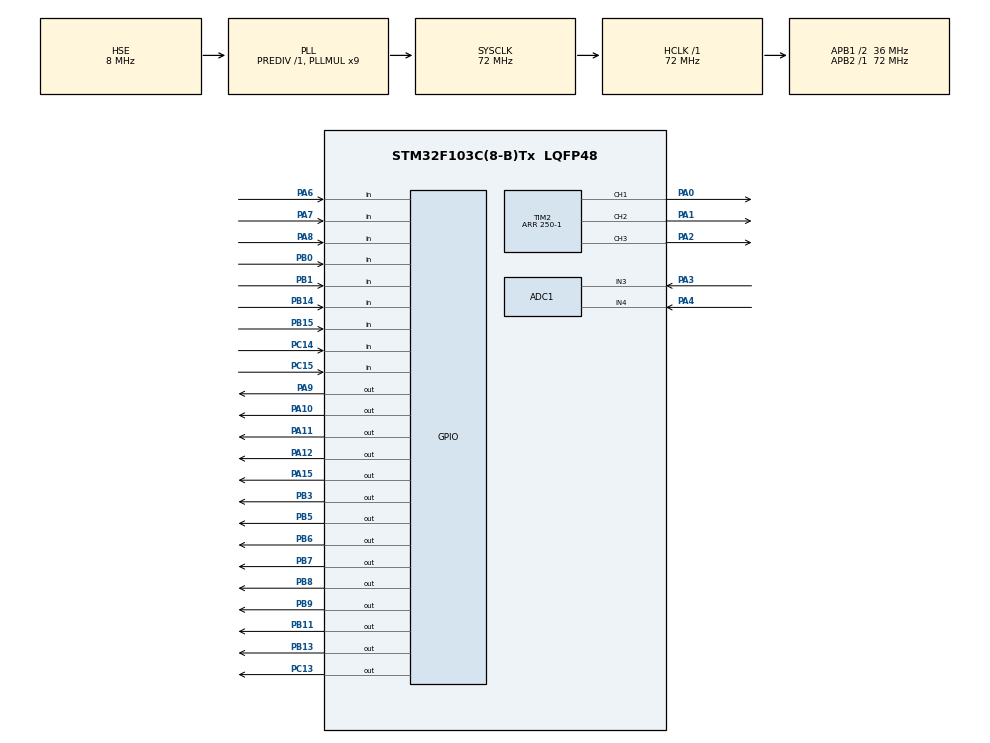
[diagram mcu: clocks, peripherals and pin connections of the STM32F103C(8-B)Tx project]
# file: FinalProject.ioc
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ADC1.Channel-48\#ChannelRegularConversion=ADC_CHANNEL_3
ADC1.Channel-64\#ChannelRegularConversion=ADC_CHANNEL_4
ADC1.NbrOfConversion=2
ADC1.NbrOfConversionFlag=1
ADC1.Rank-48\#ChannelRegularConversion=1
ADC1.Rank-64\#ChannelRegularConversion=2
ADC1.SamplingTime-48\#ChannelRegularConversion=ADC_SAMPLETIME_1CYCLE_5
ADC1.SamplingTime-64\#ChannelRegularConversion=ADC_SAMPLETIME_1CYCLE_5
ADC1.master=1
Dma.ADC1.0.Direction=DMA_PERIPH_TO_MEMORY
Dma.ADC1.0.Instance=DMA1_Channel1
Dma.ADC1.0.MemDataAlignment=DMA_MDATAALIGN_WORD
Dma.ADC1.0.MemInc=DMA_MINC_ENABLE
Dma.ADC1.0.Mode=DMA_NORMAL
Dma.ADC1.0.PeriphDataAlignment=DMA_PDATAALIGN_WORD
Dma.ADC1.0.PeriphInc=DMA_PINC_DISABLE
Dma.ADC1.0.Priority=DMA_PRIORITY_LOW
Dma.Request0=ADC1
Mcu.Family=STM32F1
Mcu.Name=STM32F103C(8-B)Tx
Mcu.Package=LQFP48
NVIC.DMA1_Channel1_IRQn=true\:0\:0\:false\:false\:true\:false\:true
NVIC.PriorityGroup=NVIC_PRIORITYGROUP_4
PA0-WKUP.Signal=S_TIM2_CH1_ETR
PA1.Signal=S_TIM2_CH2
PA10.Signal=GPIO_Output
PA11.Signal=GPIO_Output
PA12.Signal=GPIO_Output
PA13.Mode=Serial_Wire
PA13.Signal=SYS_JTMS-SWDIO
PA14.Mode=Serial_Wire
PA14.Signal=SYS_JTCK-SWCLK
PA15.Signal=GPIO_Output
PA2.Signal=S_TIM2_CH3
PA3.Signal=ADCx_IN3
PA4.Signal=ADCx_IN4
PA6.Signal=GPIO_Input
PA7.Signal=GPIO_Input
PA8.Signal=GPIO_Input
PA9.Signal=GPIO_Output
PB0.Signal=GPIO_Input
PB1.Signal=GPIO_Input
PB11.Signal=GPIO_Output
PB13.Signal=GPIO_Output
PB14.Signal=GPIO_Input
PB15.Signal=GPIO_Input
PB3.Signal=GPIO_Output
PB5.Signal=GPIO_Output
PB6.Signal=GPIO_Output
PB7.Signal=GPIO_Output
PB8.Signal=GPIO_Output
PB9.Signal=GPIO_Output
PC13-TAMPER-RTC.Signal=GPIO_Output
PC14-OSC32_IN.Signal=GPIO_Input
PC15-OSC32_OUT.Signal=GPIO_Input
PD0-OSC_IN.Mode=HSE-External-Oscillator
PD0-OSC_IN.Signal=RCC_OSC_IN
PD1-OSC_OUT.Mode=HSE-External-Oscillator
PD1-OSC_OUT.Signal=RCC_OSC_OUT
ProjectManager.HeapSize=0x200
ProjectManager.StackSize=0x400
ProjectManager.TargetToolchain=STM32CubeIDE
RCC.ADCPresc=RCC_ADCPCLK2_DIV6
RCC.AHBFreq_Value=72000000
RCC.APB1CLKDivider=RCC_HCLK_DIV2
RCC.APB1Freq_Value=36000000
RCC.APB1TimFreq_Value=72000000
RCC.APB2Freq_Value=72000000
RCC.APB2TimFreq_Value=72000000
RCC.HCLKFreq_Value=72000000
RCC.PLLMUL=RCC_PLL_MUL9
RCC.PLLSourceVirtual=RCC_PLLSOURCE_HSE
RCC.SYSCLKFreq_VALUE=72000000
RCC.SYSCLKSource=RCC_SYSCLKSOURCE_PLLCLK
RCC.USBFreq_Value=72000000
SH.ADCx_IN3.0=ADC1_IN3,IN3
SH.ADCx_IN4.0=ADC1_IN4,IN4
SH.S_TIM2_CH1_ETR.0=TIM2_CH1,PWM Generation1 CH1
SH.S_TIM2_CH2.0=TIM2_CH2,PWM Generation2 CH2
SH.S_TIM2_CH3.0=TIM2_CH3,PWM Generation3 CH3
TIM2.AutoReloadPreload=TIM_AUTORELOAD_PRELOAD_ENABLE
TIM2.Channel-PWM\ Generation1\ CH1=TIM_CHANNEL_1
TIM2.Channel-PWM\ Generation2\ CH2=TIM_CHANNEL_2
TIM2.Channel-PWM\ Generation3\ CH3=TIM_CHANNEL_3
TIM2.Period=250-1
VP_TIM2_VS_ClockSourceINT.Mode=Internal
board=custom

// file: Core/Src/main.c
/* USER CODE BEGIN Header */
/**
  ******************************************************************************
  * @file           : main.c
  * @brief          : Main program body
  ******************************************************************************
  * @attention
  *
  * <h2><center>&copy; Copyright (c) 2020 STMicroelectronics.
  * All rights reserved.</center></h2>
  *
  * This software component is licensed by ST under BSD 3-Clause license,
  * the "License"; You may not use this file except in compliance with the
  * License. You may obtain a copy of the License at:
  *                        opensource.org/licenses/BSD-3-Clause
  *
  ******************************************************************************
  */
/* USER CODE END Header */
#include "main.h"

/* USER CODE BEGIN Includes */
#include <stdio.h>
#include "lcd16x2.h"
#include "teclado.h"
#include "relogio.h"
#include "capsulas.h"
#include "heartBeat.h"
#include "PWM.h"
/* USER CODE END Includes */

/* USER CODE BEGIN PD */
#define TELA_RELOGIO 0
#define TELA_CAPSULA 1
#define ADC_SCALE (3.3 / 4095)
#define NUMBER_OF_CONVERSION 2
#define NUMBER_OF_SAMPLES 32

/* USER CODE END PD */

/* USER CODE BEGIN PM */

void heaterPID(int setPoint);
void coolerPID(int setPoint);
/* USER CODE END PM */

ADC_HandleTypeDef hadc1;
DMA_HandleTypeDef hdma_adc1;

TIM_HandleTypeDef htim2;

/* USER CODE BEGIN PV */
int tela = 0;
long long previousTimeHeater = 0;
long long previousTimeCooler = 0;
/* USER CODE END PV */

void SystemClock_Config(void);
static void MX_GPIO_Init(void);
static void MX_DMA_Init(void);
static void MX_TIM2_Init(void);
static void MX_ADC1_Init(void);

/* USER CODE BEGIN 0 */

uint8_t adcDataReady;
uint32_t adcData[NUMBER_OF_CONVERSION];
uint32_t adcAvgData = 0;
uint32_t adcAvgDataT2 = 0;
float T1;
float T2;
uint32_t contAmostras = 0;
/* USER CODE END 0 */

int main(void)
{

  /* MCU Configuration--------------------------------------------------------*/

  /* Reset of all peripherals, Initializes the Flash interface and the Systick. */
  HAL_Init();

  /* Configure the system clock */
  SystemClock_Config();

  /* Initialize all configured peripherals */
  MX_GPIO_Init();
  MX_DMA_Init();
  MX_TIM2_Init();
  MX_ADC1_Init();
  /* USER CODE BEGIN 2 */

  HAL_ADCEx_Calibration_Start(&hadc1);
  HAL_TIM_PWM_Start(&htim2, TIM_CHANNEL_1);
  HAL_TIM_PWM_Start(&htim2, TIM_CHANNEL_2);
  HAL_TIM_PWM_Start(&htim2, TIM_CHANNEL_3);

  Receita semCap = {SEM_CAPSULA, SEM_AGUA, "", 0, 0, 0};
  Receita capAux = {SEM_CAPSULA, SEM_AGUA, "", 0, 0, 0};
  int ret = 0;

  lcd_init();
  /* USER CODE END 2 */

  /* Infinite loop */
  while (1)
  {

    /* USER CODE BEGIN 3 */

    //HAL_ADC_Start_DMA(&hadc1, adcData, NUMBER_OF_CONVERSION);
    //HAL_ADC_Start_IT(&hadc1);

    contarRelogio();

    Receita capsulaIns = lerSensorCapsulas();

    if (capsulaIns.tipoCapsula != SEM_CAPSULA) //Capsula inserida
    {
      capAux = capsulaIns;
      tela = TELA_CAPSULA;
    }

    int botao = ler_teclado();
    switch (botao)
    {

    case 2:
      if (capAux.tipoCapsula != SEM_CAPSULA) //Se ja foi inserido alguma capsula pode mudar do relogio para a tela de preparacao
        tela++;
      break;
    case 3:
      if (capAux.tipoCapsula != SEM_CAPSULA) //Se ja foi inserido alguma capsula pode mudar do relogio para a tela de preparacao
        tela--;
      break;
    }

    if (tela > TELA_CAPSULA)
      tela = TELA_RELOGIO;

    if (tela < TELA_RELOGIO)
      tela = TELA_CAPSULA;

    switch (tela)
    {
    case 0:
      relogio(capAux);
      break;
    case 1:
      ret = capsulaInserida(capAux);
      tela = TELA_RELOGIO;
      if (ret)
        capAux = semCap;
      break;

    default:
      break;
    }
    heartBeat();
  }
  /* USER CODE END 3 */
}

void SystemClock_Config(void)
{
  RCC_OscInitTypeDef RCC_OscInitStruct = {0};
  RCC_ClkInitTypeDef RCC_ClkInitStruct = {0};
  RCC_PeriphCLKInitTypeDef PeriphClkInit = {0};

  /** Initializes the RCC Oscillators according to the specified parameters
  * in the RCC_OscInitTypeDef structure.
  */
  RCC_OscInitStruct.OscillatorType = RCC_OSCILLATORTYPE_HSE;
  RCC_OscInitStruct.HSEState = RCC_HSE_ON;
  RCC_OscInitStruct.HSEPredivValue = RCC_HSE_PREDIV_DIV1;
  RCC_OscInitStruct.HSIState = RCC_HSI_ON;
  RCC_OscInitStruct.PLL.PLLState = RCC_PLL_ON;
  RCC_OscInitStruct.PLL.PLLSource = RCC_PLLSOURCE_HSE;
  RCC_OscInitStruct.PLL.PLLMUL = RCC_PLL_MUL9;
  if (HAL_RCC_OscConfig(&RCC_OscInitStruct) != HAL_OK)
  {
    Error_Handler();
  }
  /** Initializes the CPU, AHB and APB buses clocks
  */
  RCC_ClkInitStruct.ClockType = RCC_CLOCKTYPE_HCLK | RCC_CLOCKTYPE_SYSCLK | RCC_CLOCKTYPE_PCLK1 | RCC_CLOCKTYPE_PCLK2;
  RCC_ClkInitStruct.SYSCLKSource = RCC_SYSCLKSOURCE_PLLCLK;
  RCC_ClkInitStruct.AHBCLKDivider = RCC_SYSCLK_DIV1;
  RCC_ClkInitStruct.APB1CLKDivider = RCC_HCLK_DIV2;
  RCC_ClkInitStruct.APB2CLKDivider = RCC_HCLK_DIV1;

  if (HAL_RCC_ClockConfig(&RCC_ClkInitStruct, FLASH_LATENCY_2) != HAL_OK)
  {
    Error_Handler();
  }
  PeriphClkInit.PeriphClockSelection = RCC_PERIPHCLK_ADC;
  PeriphClkInit.AdcClockSelection = RCC_ADCPCLK2_DIV6;
  if (HAL_RCCEx_PeriphCLKConfig(&PeriphClkInit) != HAL_OK)
  {
    Error_Handler();
  }
}

static void MX_ADC1_Init(void)
{

  ADC_ChannelConfTypeDef sConfig = {0};

  /** Common config
  */
  hadc1.Instance = ADC1;
  hadc1.Init.ScanConvMode = ADC_SCAN_ENABLE;
  hadc1.Init.ContinuousConvMode = DISABLE;
  hadc1.Init.DiscontinuousConvMode = DISABLE;
  hadc1.Init.ExternalTrigConv = ADC_SOFTWARE_START;
  hadc1.Init.DataAlign = ADC_DATAALIGN_RIGHT;
  hadc1.Init.NbrOfConversion = 8;
  if (HAL_ADC_Init(&hadc1) != HAL_OK)
  {
    Error_Handler();
  }
  /** Configure Regular Channel
  */
  sConfig.Channel = ADC_CHANNEL_3;
  sConfig.Rank = ADC_REGULAR_RANK_1;
  sConfig.SamplingTime = ADC_SAMPLETIME_1CYCLE_5;
  if (HAL_ADC_ConfigChannel(&hadc1, &sConfig) != HAL_OK)
  {
    Error_Handler();
  }
  /** Configure Regular Channel
  */
  sConfig.Rank = ADC_REGULAR_RANK_2;
  if (HAL_ADC_ConfigChannel(&hadc1, &sConfig) != HAL_OK)
  {
    Error_Handler();
  }
  /** Configure Regular Channel
  */
  sConfig.Rank = ADC_REGULAR_RANK_3;
  if (HAL_ADC_ConfigChannel(&hadc1, &sConfig) != HAL_OK)
  {
    Error_Handler();
  }
  /** Configure Regular Channel
  */
  sConfig.Rank = ADC_REGULAR_RANK_4;
  if (HAL_ADC_ConfigChannel(&hadc1, &sConfig) != HAL_OK)
  {
    Error_Handler();
  }
  /** Configure Regular Channel
  */
  sConfig.Channel = ADC_CHANNEL_4;
  sConfig.Rank = ADC_REGULAR_RANK_5;
  if (HAL_ADC_ConfigChannel(&hadc1, &sConfig) != HAL_OK)
  {
    Error_Handler();
  }
  /** Configure Regular Channel
  */
  sConfig.Rank = ADC_REGULAR_RANK_6;
  if (HAL_ADC_ConfigChannel(&hadc1, &sConfig) != HAL_OK)
  {
    Error_Handler();
  }
  /** Configure Regular Channel
  */
  sConfig.Rank = ADC_REGULAR_RANK_7;
  if (HAL_ADC_ConfigChannel(&hadc1, &sConfig) != HAL_OK)
  {
    Error_Handler();
  }
  /** Configure Regular Channel
  */
  sConfig.Rank = ADC_REGULAR_RANK_8;
  if (HAL_ADC_ConfigChannel(&hadc1, &sConfig) != HAL_OK)
  {
    Error_Handler();
  }
}

static void MX_TIM2_Init(void)
{

  TIM_ClockConfigTypeDef sClockSourceConfig = {0};
  TIM_MasterConfigTypeDef sMasterConfig = {0};
  TIM_OC_InitTypeDef sConfigOC = {0};

  htim2.Instance = TIM2;
  htim2.Init.Prescaler = 0;
  htim2.Init.CounterMode = TIM_COUNTERMODE_UP;
  htim2.Init.Period = 250 - 1;
  htim2.Init.ClockDivision = TIM_CLOCKDIVISION_DIV1;
  htim2.Init.AutoReloadPreload = TIM_AUTORELOAD_PRELOAD_ENABLE;
  if (HAL_TIM_Base_Init(&htim2) != HAL_OK)
  {
    Error_Handler();
  }
  sClockSourceConfig.ClockSource = TIM_CLOCKSOURCE_INTERNAL;
  if (HAL_TIM_ConfigClockSource(&htim2, &sClockSourceConfig) != HAL_OK)
  {
    Error_Handler();
  }
  if (HAL_TIM_PWM_Init(&htim2) != HAL_OK)
  {
    Error_Handler();
  }
  sMasterConfig.MasterOutputTrigger = TIM_TRGO_RESET;
  sMasterConfig.MasterSlaveMode = TIM_MASTERSLAVEMODE_DISABLE;
  if (HAL_TIMEx_MasterConfigSynchronization(&htim2, &sMasterConfig) != HAL_OK)
  {
    Error_Handler();
  }
  sConfigOC.OCMode = TIM_OCMODE_PWM1;
  sConfigOC.Pulse = 0;
  sConfigOC.OCPolarity = TIM_OCPOLARITY_HIGH;
  sConfigOC.OCFastMode = TIM_OCFAST_DISABLE;
  if (HAL_TIM_PWM_ConfigChannel(&htim2, &sConfigOC, TIM_CHANNEL_1) != HAL_OK)
  {
    Error_Handler();
  }
  if (HAL_TIM_PWM_ConfigChannel(&htim2, &sConfigOC, TIM_CHANNEL_2) != HAL_OK)
  {
    Error_Handler();
  }
  if (HAL_TIM_PWM_ConfigChannel(&htim2, &sConfigOC, TIM_CHANNEL_3) != HAL_OK)
  {
    Error_Handler();
  }
  HAL_TIM_MspPostInit(&htim2);
}

static void MX_DMA_Init(void)
{

  /* DMA controller clock enable */
  __HAL_RCC_DMA1_CLK_ENABLE();

  /* DMA interrupt init */
  /* DMA1_Channel1_IRQn interrupt configuration */
  HAL_NVIC_SetPriority(DMA1_Channel1_IRQn, 0, 0);
  HAL_NVIC_EnableIRQ(DMA1_Channel1_IRQn);
}

static void MX_GPIO_Init(void)
{
  GPIO_InitTypeDef GPIO_InitStruct = {0};

  /* GPIO Ports Clock Enable */
  __HAL_RCC_GPIOC_CLK_ENABLE();
  __HAL_RCC_GPIOD_CLK_ENABLE();
  __HAL_RCC_GPIOA_CLK_ENABLE();
  __HAL_RCC_GPIOB_CLK_ENABLE();

  /*Configure GPIO pin Output Level */
  HAL_GPIO_WritePin(GPIOC, GPIO_PIN_13, GPIO_PIN_RESET);

  /*Configure GPIO pin Output Level */
  HAL_GPIO_WritePin(GPIOB, GPIO_PIN_11 | GPIO_PIN_13 | GPIO_PIN_3 | GPIO_PIN_5 | GPIO_PIN_6 | GPIO_PIN_7 | GPIO_PIN_8 | GPIO_PIN_9, GPIO_PIN_RESET);

  /*Configure GPIO pin Output Level */
  HAL_GPIO_WritePin(GPIOA, GPIO_PIN_9 | GPIO_PIN_10 | GPIO_PIN_11 | GPIO_PIN_12 | GPIO_PIN_15, GPIO_PIN_RESET);

  /*Configure GPIO pin : PC13 */
  GPIO_InitStruct.Pin = GPIO_PIN_13;
  GPIO_InitStruct.Mode = GPIO_MODE_OUTPUT_PP;
  GPIO_InitStruct.Pull = GPIO_NOPULL;
  GPIO_InitStruct.Speed = GPIO_SPEED_FREQ_LOW;
  HAL_GPIO_Init(GPIOC, &GPIO_InitStruct);

  /*Configure GPIO pins : PC14 PC15 */
  GPIO_InitStruct.Pin = GPIO_PIN_14 | GPIO_PIN_15;
  GPIO_InitStruct.Mode = GPIO_MODE_INPUT;
  GPIO_InitStruct.Pull = GPIO_NOPULL;
  HAL_GPIO_Init(GPIOC, &GPIO_InitStruct);

  /*Configure GPIO pins : PA6 PA7 PA8 */
  GPIO_InitStruct.Pin = GPIO_PIN_6 | GPIO_PIN_7 | GPIO_PIN_8;
  GPIO_InitStruct.Mode = GPIO_MODE_INPUT;
  GPIO_InitStruct.Pull = GPIO_NOPULL;
  HAL_GPIO_Init(GPIOA, &GPIO_InitStruct);

  /*Configure GPIO pins : PB0 PB1 PB14 PB15 */
  GPIO_InitStruct.Pin = GPIO_PIN_0 | GPIO_PIN_1 | GPIO_PIN_14 | GPIO_PIN_15;
  GPIO_InitStruct.Mode = GPIO_MODE_INPUT;
  GPIO_InitStruct.Pull = GPIO_NOPULL;
  HAL_GPIO_Init(GPIOB, &GPIO_InitStruct);

  /*Configure GPIO pins : PB11 PB13 PB3 PB5
                           PB6 PB7 PB8 PB9 */
  GPIO_InitStruct.Pin = GPIO_PIN_11 | GPIO_PIN_13 | GPIO_PIN_3 | GPIO_PIN_5 | GPIO_PIN_6 | GPIO_PIN_7 | GPIO_PIN_8 | GPIO_PIN_9;
  GPIO_InitStruct.Mode = GPIO_MODE_OUTPUT_PP;
  GPIO_InitStruct.Pull = GPIO_NOPULL;
  GPIO_InitStruct.Speed = GPIO_SPEED_FREQ_LOW;
  HAL_GPIO_Init(GPIOB, &GPIO_InitStruct);

  /*Configure GPIO pins : PA9 PA10 PA11 PA12
                           PA15 */
  GPIO_InitStruct.Pin = GPIO_PIN_9 | GPIO_PIN_10 | GPIO_PIN_11 | GPIO_PIN_12 | GPIO_PIN_15;
  GPIO_InitStruct.Mode = GPIO_MODE_OUTPUT_PP;
  GPIO_InitStruct.Pull = GPIO_NOPULL;
  GPIO_InitStruct.Speed = GPIO_SPEED_FREQ_LOW;
  HAL_GPIO_Init(GPIOA, &GPIO_InitStruct);
}

/* USER CODE BEGIN 4 */

void HAL_ADC_ConvCpltCallback(ADC_HandleTypeDef *hadc)
{
  adcAvgData += adcData[0];
  adcAvgDataT2 += adcData[1];

  contAmostras++;
}

/**
  * @brief Controlador PID de aquecimento
  * @retval
  */
void heaterPID(int setPoint)
{
  char text[20];
  sprintf(text, "Aquecendo agua");
  lcd_set_cursor(0, 0);
  lcd_write_string(text);

  double error = 0;
  float kp = 3; //  250/90
  do
  {
    do
    {

      HAL_ADC_Start_DMA(&hadc1, adcData, NUMBER_OF_CONVERSION);
      HAL_ADC_Start_IT(&hadc1);

    } while (contAmostras < NUMBER_OF_SAMPLES);

    contAmostras = 0;
    adcAvgData /= NUMBER_OF_SAMPLES;
    adcAvgDataT2 /= NUMBER_OF_SAMPLES;
    T1 = ((adcAvgData - 0) * (100 - 5) / (4096 - 0) + 5);
    T2 = ((adcAvgDataT2 - 0) * (100 - 5) / (4096 - 0) + 5);
    adcAvgData = 0;
    adcAvgDataT2 = 0;

    error = setPoint - T1;
    error *= kp; //

    sprintf(text, "Temp %d Alvo %d", (int)T1, setPoint);
    lcd_set_cursor(1, 0);
    lcd_write_string(text);

    TIM2->CCR2 = error;
    heartBeat();
  } while (T1 <= setPoint);
  lcd_clear();
}
/**
  * @brief Controlador PID de resfriamento
  * @retval
  */
void coolerPID(int setPoint)
{

  char text[20];

  double error = 0;
  float kp = 3; //  250/90

  sprintf(text, "Resfriando agua");
  lcd_set_cursor(0, 0);
  lcd_write_string(text);
  do
  {
    do
    {

      HAL_ADC_Start_DMA(&hadc1, adcData, NUMBER_OF_CONVERSION);
      HAL_ADC_Start_IT(&hadc1);

    } while (contAmostras < NUMBER_OF_SAMPLES);

    contAmostras = 0;
    adcAvgData /= NUMBER_OF_SAMPLES;
    adcAvgDataT2 /= NUMBER_OF_SAMPLES;
    T1 = ((adcAvgData - 0) * (100 - 5) / (4096 - 0) + 5);
    T2 = ((adcAvgDataT2 - 0) * (100 - 5) / (4096 - 0) + 5);
    adcAvgData = 0;
    adcAvgDataT2 = 0;

    error = T1 - setPoint;
    error *= kp; //

    sprintf(text, "Temp %d Alvo %d", (int)T1, setPoint);
    lcd_set_cursor(1, 0);
    lcd_write_string(text);

    TIM2->CCR3 = error;
    heartBeat();
  } while (T1 >= setPoint);
  lcd_clear();
}

/* USER CODE END 4 */

void Error_Handler(void)
{
}

/************************ (C) COPYRIGHT STMicroelectronics *****END OF FILE****/
